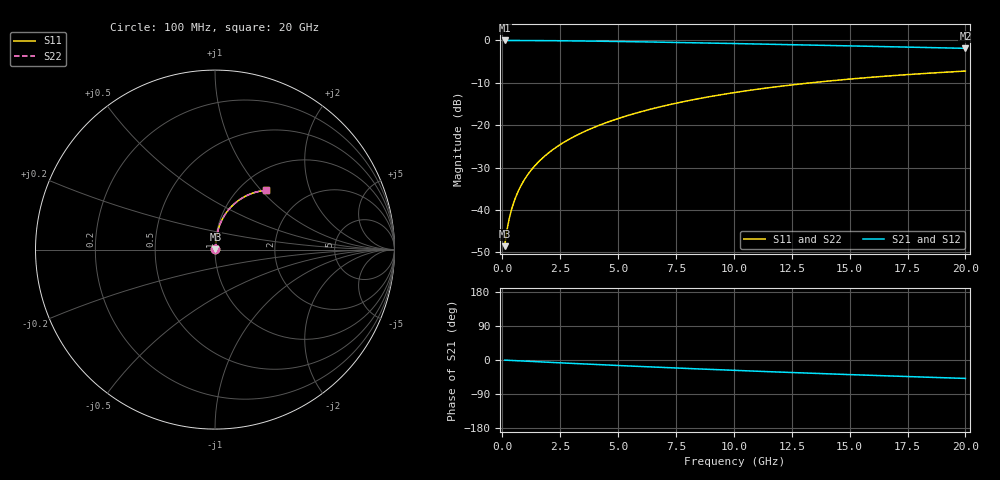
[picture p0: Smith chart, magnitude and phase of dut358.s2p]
! Touchstone file exported from HFSS 2024.1.0
!  File:  C:/UserFiles/LocalFiles/RDL_TSV_Batchsim/temp_RDL_top_358_1779608416.aedt
!  Generated:  03:42:40 PM May 24, 2026
!  Design:  RDL_top
!  Project:  temp_RDL_top_358_1779608416
!  Setup:  Setup1
!  Solution:  Sweep
! Variables:
!  dtsv = 10.80580581um
!  hbump = 3um
!  htsv = 79.08um
!  ldown = 100um
!  lrdl = 679.72um
!  p = 40
!  p1 = 56.31um
!  rhole = 1um
!  t = 450um
!  tdown = 3.915915916um
!  trdl = 4.34um
!  wdown = 15.38538539um
!  wrdl = 21.3um
# GHz S MA R 50.000000
! Terminal data exported
! Port[1] = Box2_T1
! Port[2] = Box2_T2
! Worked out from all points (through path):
!   200 points, 100 MHz to 20 GHz, reference 50 ohm
!   highest |S21| = -0.02 dB at 100 MHz (marker M1); lowest = -1.9 dB at 20 GHz (marker M2)
!   group delay of S21, straight-line fit = 6.7 ps
!   lowest |S11| = -48.5 dB at 100 MHz (marker M3), VSWR 1.01, Z = 50.3 + j0.254 ohm
!   |S11| at or under -10 dB: start of sweep to 13.35 GHz
!   |S22| runs from -48.5 to -7.2 dB; largest |S21 - S12| = 8.1e-15
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0.1  0.00375 42.4  0.9972 -0.3  0.9972 -0.3  0.00375 42.4
! Gamma 0 0 0 0
! Port Impedance 50 0 50 0
0.2  0.005765 59.5  0.997 -0.6  0.997 -0.6  0.005765 59.5
0.3  0.007945 67.2  0.9969 -0.9  0.9969 -0.9  0.007945 67.2
0.4  0.01016 71.6  0.9967 -1.2  0.9967 -1.2  0.01016 71.6
0.5  0.0124 74.4  0.9965 -1.5  0.9965 -1.5  0.0124 74.4
0.6  0.01466 76.5  0.9963 -1.8  0.9963 -1.8  0.01466 76.5
0.8  0.01922 79.1  0.9959 -2.4  0.9959 -2.4  0.01922 79.1
1.1  0.02613 81.2  0.9952 -3.3  0.9952 -3.3  0.02613 81.2
1.5  0.03545 82.5  0.9939 -4.5  0.9939 -4.5  0.03545 82.5
1.8  0.04248 83.0  0.9926 -5.4  0.9926 -5.4  0.04248 82.9
2.1  0.04956 83.1  0.9912 -6.3  0.9912 -6.3  0.04956 83.1
2.7  0.06382 83.1  0.9879 -8.0  0.9879 -8.0  0.06381 83.1
3.5  0.08304 82.5  0.9825 -10.3  0.9825 -10.3  0.08304 82.5
4.2  0.1001 81.7  0.977 -12.3  0.977 -12.3  0.1001 81.6
5  0.1197 80.5  0.97 -14.5  0.97 -14.5  0.1197 80.5
6.8  0.1642 77.3  0.9523 -19.3  0.9523 -19.3  0.1642 77.3
8.4  0.2036 74.0  0.9353 -23.4  0.9353 -23.4  0.2035 74.0
10.1  0.2442 70.3  0.9164 -27.5  0.9164 -27.5  0.2441 70.3
11.7  0.2808 66.8  0.8982 -31.2  0.8982 -31.2  0.2807 66.7
13.4  0.3174 63.0  0.8788 -35.1  0.8788 -35.1  0.3173 63.0
16.7  0.3809 56.0  0.8413 -42.1  0.8413 -42.1  0.3808 56.0
20  0.4344 49.4  0.8052 -48.6  0.8052 -48.6  0.4342 49.4
